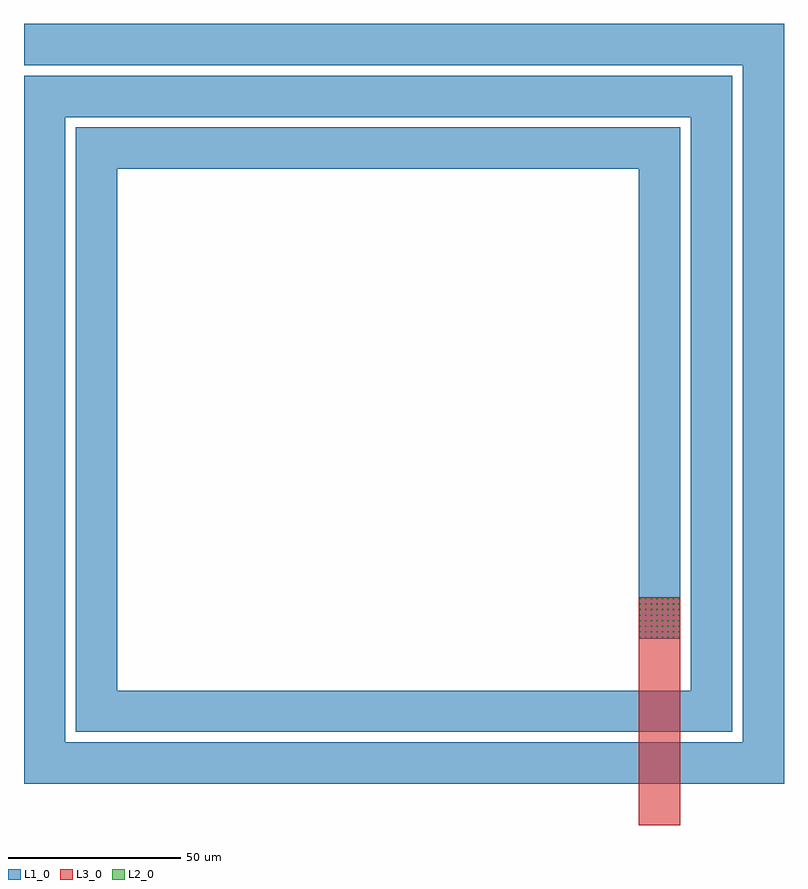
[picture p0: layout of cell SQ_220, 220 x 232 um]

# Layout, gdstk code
import gdstk
lib = gdstk.Library(unit=1e-6, precision=1e-09)
def R(c, l, rs):  # rectangles x0, y0, x1, y1
    for r in rs: c.add(gdstk.rectangle(r[:2], r[2:], *l))
def A(c, l, x, y, w, h, nx, ny, dx, dy):  # array of equal rectangles
    R(c, l, [(x+i*dx, y+j*dy, x+i*dx+w, y+j*dy+h) for i in range(nx) for j in range(ny)])
def P(c, l, *ps):  # polygons
    for p in ps: c.add(gdstk.Polygon(p, *l))
L1_0 = (1, 0)
L2_0 = (2, 0)
L3_0 = (3, 0)

sq_220 = lib.new_cell('SQ_220')
R(sq_220, L1_0, [(278.005,142,289.995,154)])
P(sq_220, L1_0, [(100,308),(100,320),(320,320),(308,308)],
  [(320,100),(308,112),(308,308),(320,320)],
  [(100,100),(112,112),(308,112),(320,100)],
  [(100,100),(100,305),(112,293),(112,112)],
  [(112,293),(100,305),(305,305),(293,293)],
  [(305,115),(293,127),(293,293),(305,305)],
  [(115,115),(127,127),(293,127),(305,115)],
  [(115,115),(115,290),(127,278),(127,127)],
  [(127,278),(115,290),(290,290),(278,278)],
  [(278,142),(278,278),(290,290),(290,142)])
A(sq_220, L2_0, 278.19, 142.2, 0.4, 0.4, 8, 8, 1.6, 1.6)
R(sq_220, L3_0, [(278,88,290,154), (278.005,142,289.995,154)])

lib.write_gds('SQ_220.gds')
